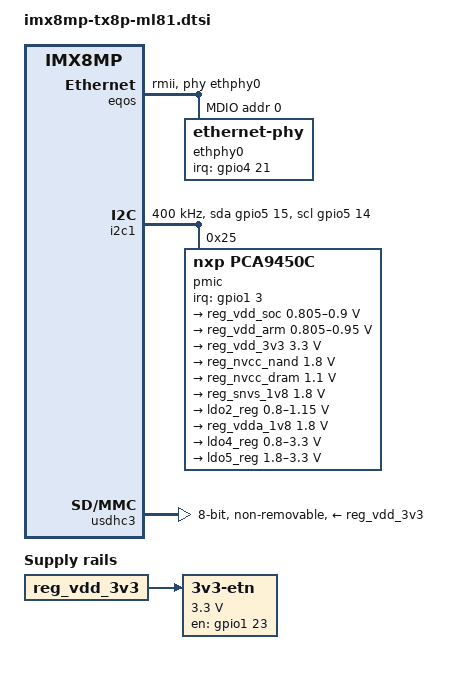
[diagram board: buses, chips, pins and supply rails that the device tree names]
// SPDX-License-Identifier: (GPL-2.0 OR MIT)
/*
 * Copyright (C) 2020 Lothar Waßmann <LW@KARO-electronics.de>
 * 2025 Maud Spierings <maudspierings@gocontroll.com>
 */

#include "imx8mp.dtsi"

/ {
	/* PHY regulator */
	regulator-3v3-etn {
		compatible = "regulator-fixed";
		gpios = <&gpio1 23 GPIO_ACTIVE_HIGH>;
		enable-active-high;
		pinctrl-0 = <&pinctrl_reg_3v3_etn>;
		pinctrl-names = "default";
		regulator-always-on;
		regulator-boot-on;
		regulator-max-microvolt = <3300000>;
		regulator-min-microvolt = <3300000>;
		regulator-name = "3v3-etn";
		vin-supply = <&reg_vdd_3v3>;
	};
};

&A53_0 {
	cpu-supply = <&reg_vdd_arm>;
};

&A53_1 {
	cpu-supply = <&reg_vdd_arm>;
};

&A53_2 {
	cpu-supply = <&reg_vdd_arm>;
};

&A53_3 {
	cpu-supply = <&reg_vdd_arm>;
};

&eqos {
	assigned-clocks = <&clk IMX8MP_CLK_ENET_AXI>,
			  <&clk IMX8MP_CLK_ENET_QOS_TIMER>,
			  <&clk IMX8MP_CLK_ENET_QOS>;
	assigned-clock-parents = <&clk IMX8MP_SYS_PLL1_266M>,
				 <&clk IMX8MP_SYS_PLL2_100M>,
				 <&clk IMX8MP_SYS_PLL2_50M>;
	assigned-clock-rates = <266000000>, <100000000>, <50000000>;
	phy-handle = <&ethphy0>;
	phy-mode = "rmii";
	pinctrl-0 = <&pinctrl_eqos>;
	pinctrl-1 = <&pinctrl_eqos_sleep>;
	pinctrl-names = "default", "sleep";
	status = "okay";

	mdio {
		compatible = "snps,dwmac-mdio";
		#address-cells = <1>;
		#size-cells = <0>;
		pinctrl-0 = <&pinctrl_ethphy_rst_b>;
		pinctrl-names = "default";
		reset-delay-us = <25000>;
		reset-gpios = <&gpio4 22 GPIO_ACTIVE_LOW>;

		ethphy0: ethernet-phy@0 {
			reg = <0>;
			interrupt-parent = <&gpio4>;
			interrupts = <21 IRQ_TYPE_EDGE_FALLING>;
			clocks = <&clk IMX8MP_CLK_ENET_QOS>;
			pinctrl-0 = <&pinctrl_ethphy_int_b>;
			pinctrl-names = "default";
			smsc,disable-energy-detect;
		};
	};
};

&gpio1 {
	gpio-line-names = "SODIMM_152",
			  "SODIMM_42",
			  "PMIC_WDOG_B SODIMM_153",
			  "PMIC_IRQ_B",
			  "SODIMM_154",
			  "SODIMM_155",
			  "SODIMM_156",
			  "SODIMM_157",
			  "SODIMM_158",
			  "SODIMM_159",
			  "SODIMM_161",
			  "SODIMM_162",
			  "SODIMM_34",
			  "SODIMM_36",
			  "SODIMM_27",
			  "SODIMM_28",
			  "ENET_MDC",
			  "ENET_MDIO",
			  "",
			  "ENET_XTAL1/CLKIN",
			  "ENET_TXD1",
			  "ENET_TXD0",
			  "ENET_TXEN",
			  "ENET_POWER",
			  "ENET_COL/CRS_DV",
			  "ENET_RXER",
			  "ENET_RXD0",
			  "ENET_RXD1",
			  "",
			  "",
			  "",
			  "";
};

&gpio2 {
	gpio-line-names = "",
			  "",
			  "",
			  "",
			  "",
			  "",
			  "",
			  "",
			  "",
			  "",
			  "",
			  "",
			  "SODIMM_51",
			  "SODIMM_57",
			  "SODIMM_56",
			  "SODIMM_52",
			  "SODIMM_53",
			  "SODIMM_54",
			  "SODIMM_55",
			  "SODIMM_15",
			  "",
			  "",
			  "",
			  "",
			  "",
			  "",
			  "",
			  "",
			  "",
			  "",
			  "",
			  "";
};

&gpio3 {
	gpio-line-names = "",
			  "",
			  "EMMC_DS",
			  "EMMC_DAT5",
			  "EMMC_DAT6",
			  "EMMC_DAT7",
			  "",
			  "",
			  "",
			  "",
			  "EMMC_DAT0",
			  "EMMC_DAT1",
			  "EMMC_DAT2",
			  "EMMC_DAT3",
			  "",
			  "EMMC_DAT4",
			  "",
			  "EMMC_CLK",
			  "EMMC_CMD",
			  "SODIMM_75",
			  "SODIMM_145",
			  "SODIMM_163",
			  "SODIMM_164",
			  "SODIMM_165",
			  "SODIMM_143",
			  "SODIMM_144",
			  "SODIMM_72",
			  "SODIMM_73",
			  "SODIMM_74",
			  "SODIMM_93",
			  "",
			  "";
};

&gpio4 {
	gpio-line-names = "SODIMM_98",
			  "SODIMM_99",
			  "SODIMM_100",
			  "SODIMM_101",
			  "SODIMM_45",
			  "SODIMM_43",
			  "SODIMM_105",
			  "SODIMM_106",
			  "SODIMM_107",
			  "SODIMM_108",
			  "SODIMM_104",
			  "SODIMM_103",
			  "SODIMM_115",
			  "SODIMM_114",
			  "SODIMM_113",
			  "SODIMM_112",
			  "SODIMM_109",
			  "SODIMM_110",
			  "SODIMM_95",
			  "SODIMM_96",
			  "SODIMM_97",
			  "ENET_nINT",
			  "ENET_nRST",
			  "SODIMM_84",
			  "SODIMM_87",
			  "SODIMM_86",
			  "SODIMM_85",
			  "SODIMM_83",
			  "",
			  "SODIMM_66",
			  "SODIMM_65",
			  "";
};

&gpio5 {
	gpio-line-names = "",
			  "",
			  "",
			  "SODIMM_76",
			  "SODIMM_81",
			  "SODIMM_146",
			  "SODIMM_48",
			  "SODIMM_46",
			  "SODIMM_47",
			  "SODIMM_44",
			  "SODIMM_49",
			  "",
			  "SODIMM_70",
			  "SODIMM_69",
			  "PMIC_SCL",
			  "PMIC_SDA",
			  "SODIMM_41",
			  "SODIMM_40",
			  "SODIMM_148",
			  "SODIMM_149",
			  "SODIMM_150",
			  "SODIMM_151",
			  "SODIMM_60",
			  "SODIMM_59",
			  "SODIMM_64",
			  "SODIMM_63",
			  "SODIMM_62",
			  "SODIMM_61",
			  "SODIMM_68",
			  "SODIMM_67",
			  "",
			  "";
};

&i2c1 {
	clock-frequency = <400000>;
	pinctrl-0 = <&pinctrl_i2c1>;
	pinctrl-1 = <&pinctrl_i2c1_gpio>;
	pinctrl-names = "default", "gpio";
	scl-gpios = <&gpio5 14 (GPIO_ACTIVE_HIGH | GPIO_OPEN_DRAIN)>;
	sda-gpios = <&gpio5 15 (GPIO_ACTIVE_HIGH | GPIO_OPEN_DRAIN)>;
	status = "okay";

	pmic@25 {
		compatible = "nxp,pca9450c";
		reg = <0x25>;
		interrupt-parent = <&gpio1>;
		interrupts = <3 IRQ_TYPE_EDGE_FALLING>;
		pinctrl-0 = <&pinctrl_pmic>;
		pinctrl-names = "default";

		regulators {
			reg_vdd_soc: BUCK1 {
				regulator-always-on;
				regulator-boot-on;
				regulator-max-microvolt = <900000>;
				regulator-min-microvolt = <805000>;
				regulator-name = "vdd-soc";
				regulator-ramp-delay = <3125>;
			};

			reg_vdd_arm: BUCK2 {
				regulator-always-on;
				regulator-boot-on;
				regulator-max-microvolt = <950000>;
				regulator-min-microvolt = <805000>;
				regulator-name = "vdd-core";
				regulator-ramp-delay = <3125>;
				nxp,dvs-run-voltage = <950000>;
				nxp,dvs-standby-voltage = <850000>;
			};

			reg_vdd_3v3: BUCK4 {
				regulator-always-on;
				regulator-boot-on;
				regulator-max-microvolt = <3300000>;
				regulator-min-microvolt = <3300000>;
				regulator-name = "3v3";
			};

			reg_nvcc_nand: BUCK5 {
				regulator-always-on;
				regulator-boot-on;
				regulator-max-microvolt = <1800000>;
				regulator-min-microvolt = <1800000>;
				regulator-name = "nvcc-nand";
			};

			reg_nvcc_dram: BUCK6 {
				regulator-always-on;
				regulator-boot-on;
				regulator-max-microvolt = <1100000>;
				regulator-min-microvolt = <1100000>;
				regulator-name = "nvcc-dram";
			};

			reg_snvs_1v8: LDO1 {
				regulator-always-on;
				regulator-boot-on;
				regulator-max-microvolt = <1800000>;
				regulator-min-microvolt = <1800000>;
				regulator-name = "snvs-1v8";
			};

			ldo2_reg: LDO2 {
				regulator-always-on;
				regulator-max-microvolt = <1150000>;
				regulator-min-microvolt = <800000>;
				regulator-name = "LDO2";
			};

			reg_vdda_1v8: LDO3 {
				regulator-always-on;
				regulator-boot-on;
				regulator-max-microvolt = <1800000>;
				regulator-min-microvolt = <1800000>;
				regulator-name = "vdda-1v8";
			};

			ldo4_reg: LDO4 {
				regulator-max-microvolt = <3300000>;
				regulator-min-microvolt = <800000>;
				regulator-name = "LDO4";
			};

			ldo5_reg: LDO5 {
				regulator-always-on;
				regulator-boot-on;
				regulator-max-microvolt = <3300000>;
				regulator-min-microvolt = <1800000>;
				regulator-name = "LDO5";
			};
		};
	};
};

&iomuxc {
	pinctrl_eqos: eqosgrp {
		fsl,pins = <
			MX8MP_IOMUXC_ENET_TD2__CCM_ENET_QOS_CLOCK_GENERATE_REF_CLK
				(MX8MP_DSE_X4 | MX8MP_PULL_UP | MX8MP_PULL_ENABLE | MX8MP_SION)
			MX8MP_IOMUXC_ENET_MDC__ENET_QOS_MDC
				(MX8MP_DSE_X4 | MX8MP_PULL_UP | MX8MP_PULL_ENABLE)
			MX8MP_IOMUXC_ENET_MDIO__ENET_QOS_MDIO
				(MX8MP_DSE_X4 | MX8MP_PULL_UP | MX8MP_PULL_ENABLE)
			MX8MP_IOMUXC_ENET_TD0__ENET_QOS_RGMII_TD0
				(MX8MP_DSE_X6 | MX8MP_FSEL_FAST)
			MX8MP_IOMUXC_ENET_TD1__ENET_QOS_RGMII_TD1
				(MX8MP_DSE_X6 | MX8MP_FSEL_FAST)
			MX8MP_IOMUXC_ENET_RD0__ENET_QOS_RGMII_RD0
				(MX8MP_FSEL_FAST | MX8MP_PULL_UP | MX8MP_PULL_ENABLE)
			MX8MP_IOMUXC_ENET_RD1__ENET_QOS_RGMII_RD1
				(MX8MP_FSEL_FAST | MX8MP_PULL_UP | MX8MP_PULL_ENABLE)
			MX8MP_IOMUXC_ENET_RXC__ENET_QOS_RX_ER
				(MX8MP_FSEL_FAST | MX8MP_PULL_ENABLE)
			MX8MP_IOMUXC_ENET_RX_CTL__ENET_QOS_RGMII_RX_CTL
				(MX8MP_DSE_X6 | MX8MP_FSEL_FAST | MX8MP_PULL_ENABLE)
			MX8MP_IOMUXC_ENET_TX_CTL__ENET_QOS_RGMII_TX_CTL
				(MX8MP_DSE_X6 | MX8MP_FSEL_FAST)
		>;
	};

	pinctrl_eqos_sleep: eqos-sleep-grp {
		fsl,pins = <
			MX8MP_IOMUXC_ENET_TD2__GPIO1_IO19
				(MX8MP_ODE_ENABLE | MX8MP_PULL_ENABLE)
			MX8MP_IOMUXC_ENET_MDC__GPIO1_IO16
				(MX8MP_ODE_ENABLE | MX8MP_PULL_ENABLE)
			MX8MP_IOMUXC_ENET_MDIO__GPIO1_IO17
				(MX8MP_ODE_ENABLE | MX8MP_PULL_ENABLE)
			MX8MP_IOMUXC_ENET_TD0__GPIO1_IO21
				(MX8MP_ODE_ENABLE | MX8MP_PULL_ENABLE)
			MX8MP_IOMUXC_ENET_TD1__GPIO1_IO20
				(MX8MP_ODE_ENABLE | MX8MP_PULL_ENABLE)
			MX8MP_IOMUXC_ENET_RD0__GPIO1_IO26
				(MX8MP_ODE_ENABLE | MX8MP_PULL_ENABLE)
			MX8MP_IOMUXC_ENET_RD1__GPIO1_IO27
				(MX8MP_ODE_ENABLE | MX8MP_PULL_ENABLE)
			MX8MP_IOMUXC_ENET_RXC__GPIO1_IO25
				(MX8MP_ODE_ENABLE | MX8MP_PULL_ENABLE)
			MX8MP_IOMUXC_ENET_RX_CTL__GPIO1_IO24
				(MX8MP_ODE_ENABLE | MX8MP_PULL_ENABLE)
			MX8MP_IOMUXC_ENET_TX_CTL__GPIO1_IO22
				(MX8MP_ODE_ENABLE | MX8MP_PULL_ENABLE)
		>;
	};

	pinctrl_ethphy_int_b: ethphy-int-bgrp {
		fsl,pins = <
			MX8MP_IOMUXC_SAI2_RXFS__GPIO4_IO21
				(MX8MP_FSEL_FAST | MX8MP_HYS_SCHMITT)
		>;
	};

	pinctrl_ethphy_rst_b: ethphy-rst-bgrp {
		fsl,pins = <
			MX8MP_IOMUXC_SAI2_RXC__GPIO4_IO22
				(MX8MP_PULL_UP | MX8MP_PULL_ENABLE)
		>;
	};

	pinctrl_i2c1: i2c1grp {
		fsl,pins = <
			MX8MP_IOMUXC_I2C1_SCL__I2C1_SCL
				MX8MP_I2C_DEFAULT
			MX8MP_IOMUXC_I2C1_SDA__I2C1_SDA
				MX8MP_I2C_DEFAULT
		>;
	};

	pinctrl_i2c1_gpio: i2c1-gpiogrp {
		fsl,pins = <
			MX8MP_IOMUXC_I2C1_SCL__GPIO5_IO14
				MX8MP_I2C_DEFAULT
			MX8MP_IOMUXC_I2C1_SDA__GPIO5_IO15
				MX8MP_I2C_DEFAULT
		>;
	};

	pinctrl_pmic: pmicgrp {
		fsl,pins = <
			MX8MP_IOMUXC_GPIO1_IO03__GPIO1_IO03
				(MX8MP_PULL_UP | MX8MP_HYS_SCHMITT | MX8MP_PULL_ENABLE)
		>;
	};

	pinctrl_reg_3v3_etn: reg-3v3-etngrp {
		fsl,pins = <
			MX8MP_IOMUXC_ENET_TXC__GPIO1_IO23
				(MX8MP_PULL_UP | MX8MP_PULL_ENABLE)
		>;
	};

	pinctrl_usdhc3: usdhc3grp {
		fsl,pins = <
			MX8MP_IOMUXC_NAND_WE_B__USDHC3_CLK
				(MX8MP_FSEL_FAST | MX8MP_HYS_SCHMITT | MX8MP_PULL_ENABLE)
			MX8MP_IOMUXC_NAND_WP_B__USDHC3_CMD
				MX8MP_USDHC_DATA_DEFAULT
			MX8MP_IOMUXC_NAND_DATA04__USDHC3_DATA0
				MX8MP_USDHC_DATA_DEFAULT
			MX8MP_IOMUXC_NAND_DATA05__USDHC3_DATA1
				MX8MP_USDHC_DATA_DEFAULT
			MX8MP_IOMUXC_NAND_DATA06__USDHC3_DATA2
				MX8MP_USDHC_DATA_DEFAULT
			MX8MP_IOMUXC_NAND_DATA07__USDHC3_DATA3
				MX8MP_USDHC_DATA_DEFAULT
			MX8MP_IOMUXC_NAND_RE_B__USDHC3_DATA4
				MX8MP_USDHC_DATA_DEFAULT
			MX8MP_IOMUXC_NAND_CE2_B__USDHC3_DATA5
				MX8MP_USDHC_DATA_DEFAULT
			MX8MP_IOMUXC_NAND_CE3_B__USDHC3_DATA6
				MX8MP_USDHC_DATA_DEFAULT
			MX8MP_IOMUXC_NAND_CLE__USDHC3_DATA7
				MX8MP_USDHC_DATA_DEFAULT
			MX8MP_IOMUXC_NAND_CE1_B__USDHC3_STROBE
				(MX8MP_FSEL_FAST | MX8MP_HYS_SCHMITT | MX8MP_PULL_ENABLE)
		>;
	};

	pinctrl_usdhc3_100mhz: usdhc3-100mhzgrp {
		fsl,pins = <
			MX8MP_IOMUXC_NAND_WE_B__USDHC3_CLK
				(MX8MP_DSE_X2 | MX8MP_FSEL_FAST | MX8MP_HYS_SCHMITT | MX8MP_PULL_ENABLE)
			MX8MP_IOMUXC_NAND_WP_B__USDHC3_CMD
				(MX8MP_DSE_X2 | MX8MP_USDHC_DATA_DEFAULT)
			MX8MP_IOMUXC_NAND_DATA04__USDHC3_DATA0
				(MX8MP_DSE_X2 | MX8MP_USDHC_DATA_DEFAULT)
			MX8MP_IOMUXC_NAND_DATA05__USDHC3_DATA1
				(MX8MP_DSE_X2 | MX8MP_USDHC_DATA_DEFAULT)
			MX8MP_IOMUXC_NAND_DATA06__USDHC3_DATA2
				(MX8MP_DSE_X2 | MX8MP_USDHC_DATA_DEFAULT)
			MX8MP_IOMUXC_NAND_DATA07__USDHC3_DATA3
				(MX8MP_DSE_X2 | MX8MP_USDHC_DATA_DEFAULT)
			MX8MP_IOMUXC_NAND_RE_B__USDHC3_DATA4
				(MX8MP_DSE_X2 | MX8MP_USDHC_DATA_DEFAULT)
			MX8MP_IOMUXC_NAND_CE2_B__USDHC3_DATA5
				(MX8MP_DSE_X2 | MX8MP_USDHC_DATA_DEFAULT)
			MX8MP_IOMUXC_NAND_CE3_B__USDHC3_DATA6
				(MX8MP_DSE_X2 | MX8MP_USDHC_DATA_DEFAULT)
			MX8MP_IOMUXC_NAND_CLE__USDHC3_DATA7
				(MX8MP_DSE_X2 | MX8MP_USDHC_DATA_DEFAULT)
			MX8MP_IOMUXC_NAND_CE1_B__USDHC3_STROBE
				(MX8MP_DSE_X2 | MX8MP_FSEL_FAST | MX8MP_HYS_SCHMITT | MX8MP_PULL_ENABLE)
		>;
	};

	pinctrl_usdhc3_200mhz: usdhc3-200mhzgrp {
		fsl,pins = <
			MX8MP_IOMUXC_NAND_WE_B__USDHC3_CLK
				(MX8MP_DSE_X6 | MX8MP_FSEL_FAST | MX8MP_HYS_SCHMITT | MX8MP_PULL_ENABLE)
			MX8MP_IOMUXC_NAND_WP_B__USDHC3_CMD
				(MX8MP_DSE_X6 | MX8MP_USDHC_DATA_DEFAULT)
			MX8MP_IOMUXC_NAND_DATA04__USDHC3_DATA0
				(MX8MP_DSE_X6 | MX8MP_USDHC_DATA_DEFAULT)
			MX8MP_IOMUXC_NAND_DATA05__USDHC3_DATA1
				(MX8MP_DSE_X6 | MX8MP_USDHC_DATA_DEFAULT)
			MX8MP_IOMUXC_NAND_DATA06__USDHC3_DATA2
				(MX8MP_DSE_X6 | MX8MP_USDHC_DATA_DEFAULT)
			MX8MP_IOMUXC_NAND_DATA07__USDHC3_DATA3
				(MX8MP_DSE_X6 | MX8MP_USDHC_DATA_DEFAULT)
			MX8MP_IOMUXC_NAND_RE_B__USDHC3_DATA4
				(MX8MP_DSE_X6 | MX8MP_USDHC_DATA_DEFAULT)
			MX8MP_IOMUXC_NAND_CE2_B__USDHC3_DATA5
				(MX8MP_DSE_X6 | MX8MP_USDHC_DATA_DEFAULT)
			MX8MP_IOMUXC_NAND_CE3_B__USDHC3_DATA6
				(MX8MP_DSE_X6 | MX8MP_USDHC_DATA_DEFAULT)
			MX8MP_IOMUXC_NAND_CLE__USDHC3_DATA7
				(MX8MP_DSE_X6 | MX8MP_USDHC_DATA_DEFAULT)
			MX8MP_IOMUXC_NAND_CE1_B__USDHC3_STROBE
				(MX8MP_DSE_X6 | MX8MP_FSEL_FAST | MX8MP_HYS_SCHMITT | MX8MP_PULL_ENABLE)
		>;
	};
};

&usdhc3 {
	assigned-clocks = <&clk IMX8MP_CLK_USDHC3>;
	assigned-clock-rates = <200000000>;
	bus-width = <8>;
	max-frequency = <200000000>;
	non-removable;
	pinctrl-0 = <&pinctrl_usdhc3>;
	pinctrl-1 = <&pinctrl_usdhc3_100mhz>;
	pinctrl-2 = <&pinctrl_usdhc3_200mhz>;
	pinctrl-names = "default", "state_100mhz", "state_200mhz";
	vmmc-supply = <&reg_vdd_3v3>;
	voltage-ranges = <3300 3300>;
	vqmmc-supply = <&reg_nvcc_nand>;
	status = "okay";
};
